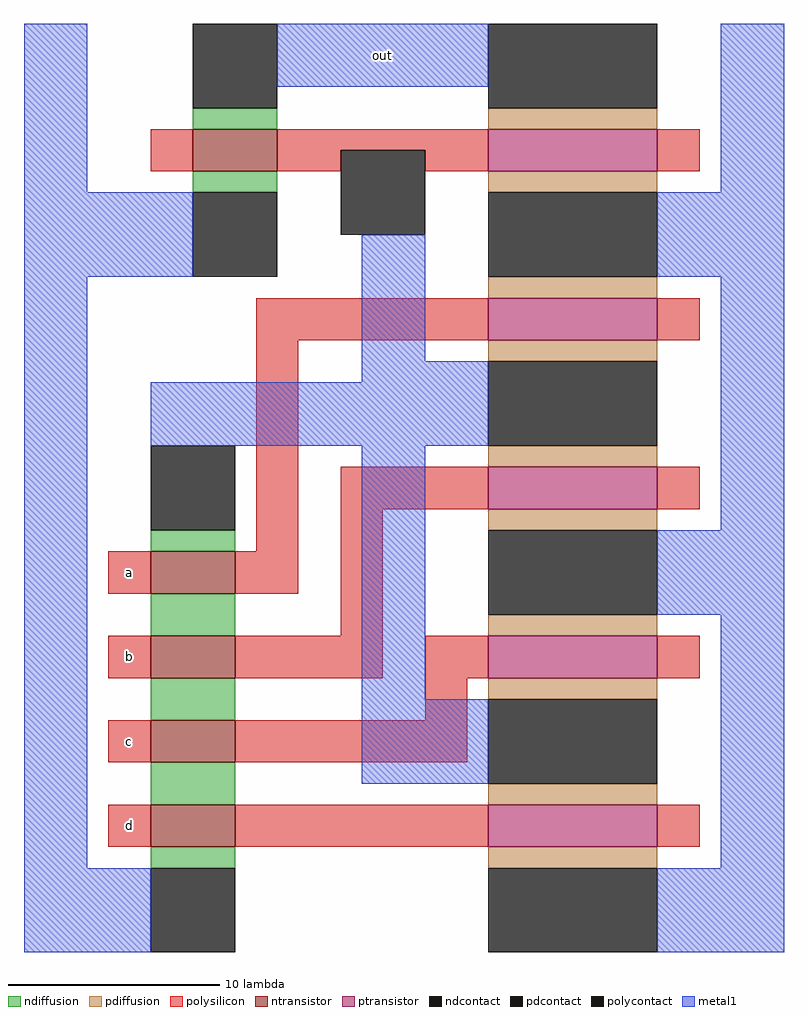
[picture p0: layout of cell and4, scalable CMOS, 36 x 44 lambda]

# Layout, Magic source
magic
tech scmos
<< polysilicon >>
rect -28 23 -26 25
rect -22 24 -12 25
rect -22 23 -19 24
rect -15 23 -12 24
rect -4 23 -2 25
rect -23 15 -12 17
rect -4 15 -2 17
rect -23 5 -21 15
rect -30 3 -28 5
rect -24 3 -21 5
rect -19 7 -12 9
rect -4 7 -2 9
rect -19 1 -17 7
rect -30 -1 -28 1
rect -24 -1 -17 1
rect -15 -1 -12 1
rect -4 -1 -2 1
rect -15 -3 -13 -1
rect -30 -5 -28 -3
rect -24 -5 -13 -3
rect -30 -9 -28 -7
rect -24 -9 -12 -7
rect -4 -9 -2 -7
<< ndiffusion >>
rect -26 25 -22 26
rect -26 22 -22 23
rect -28 5 -24 6
rect -28 1 -24 3
rect -28 -3 -24 -1
rect -28 -7 -24 -5
rect -28 -10 -24 -9
<< pdiffusion >>
rect -12 25 -4 26
rect -12 22 -4 23
rect -12 17 -4 18
rect -12 14 -4 15
rect -12 9 -4 10
rect -12 6 -4 7
rect -12 1 -4 2
rect -12 -2 -4 -1
rect -12 -7 -4 -6
rect -12 -10 -4 -9
<< metal1 >>
rect -34 22 -31 30
rect -22 27 -12 30
rect -34 18 -26 22
rect -1 22 2 30
rect -34 -10 -31 18
rect -18 14 -15 20
rect -4 18 2 22
rect -18 13 -12 14
rect -28 10 -12 13
rect -18 -2 -15 10
rect -1 6 2 18
rect -4 2 2 6
rect -18 -6 -12 -2
rect -1 -10 2 2
rect -34 -14 -28 -10
rect -4 -14 2 -10
<< ntransistor >>
rect -26 23 -22 25
rect -28 3 -24 5
rect -28 -1 -24 1
rect -28 -5 -24 -3
rect -28 -9 -24 -7
<< ptransistor >>
rect -12 23 -4 25
rect -12 15 -4 17
rect -12 7 -4 9
rect -12 -1 -4 1
rect -12 -9 -4 -7
<< polycontact >>
rect -19 20 -15 24
<< ndcontact >>
rect -26 26 -22 30
rect -26 18 -22 22
rect -28 6 -24 10
rect -28 -14 -24 -10
<< pdcontact >>
rect -12 26 -4 30
rect -12 18 -4 22
rect -12 10 -4 14
rect -12 2 -4 6
rect -12 -6 -4 -2
rect -12 -14 -4 -10
<< labels >>
rlabel metal1 -19 27 -15 30 5 out
rlabel polysilicon -29 4 -29 4 3 a
rlabel polysilicon -29 0 -29 0 3 b
rlabel polysilicon -29 -4 -29 -4 3 c
rlabel polysilicon -29 -8 -29 -8 3 d
<< end >>
